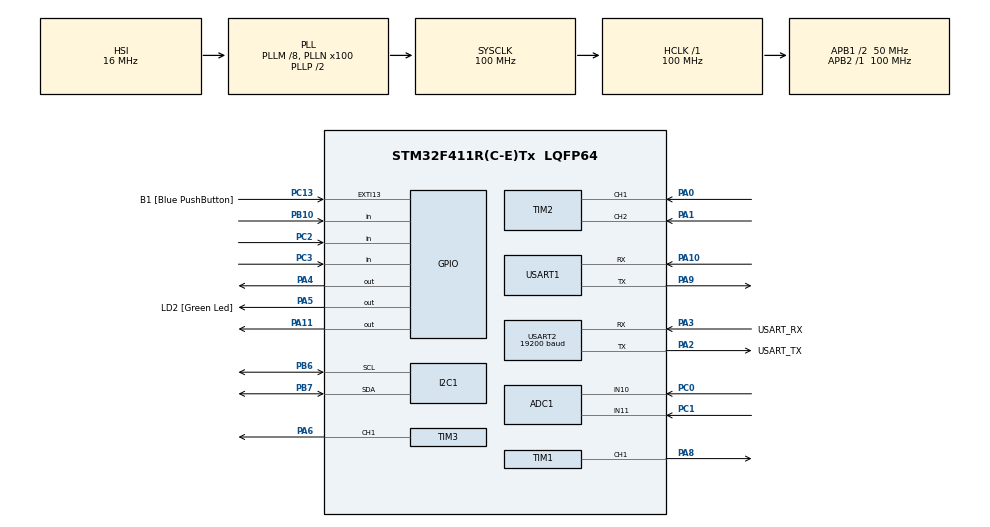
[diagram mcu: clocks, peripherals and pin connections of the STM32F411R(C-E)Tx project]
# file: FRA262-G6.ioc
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ADC1.Channel-0\#ChannelRegularConversion=ADC_CHANNEL_10
ADC1.NbrOfConversionFlag=1
ADC1.Rank-0\#ChannelRegularConversion=1
ADC1.SamplingTime-0\#ChannelRegularConversion=ADC_SAMPLETIME_3CYCLES
ADC1.master=1
ARM.CMSIS.5.6.0.CMSISJjCORE=true
ARM.CMSIS.5.6.0.CMSISJjDSP=Library
Dma.Request0=USART2_TX
Dma.Request1=TIM3_CH1/TRIG
Dma.Request2=USART1_TX
Dma.TIM3_CH1/TRIG.1.Direction=DMA_MEMORY_TO_PERIPH
Dma.TIM3_CH1/TRIG.1.FIFOMode=DMA_FIFOMODE_DISABLE
Dma.TIM3_CH1/TRIG.1.Instance=DMA1_Stream4
Dma.TIM3_CH1/TRIG.1.MemDataAlignment=DMA_MDATAALIGN_HALFWORD
Dma.TIM3_CH1/TRIG.1.MemInc=DMA_MINC_ENABLE
Dma.TIM3_CH1/TRIG.1.Mode=DMA_NORMAL
Dma.TIM3_CH1/TRIG.1.PeriphDataAlignment=DMA_PDATAALIGN_HALFWORD
Dma.TIM3_CH1/TRIG.1.PeriphInc=DMA_PINC_DISABLE
Dma.TIM3_CH1/TRIG.1.Priority=DMA_PRIORITY_LOW
Dma.USART1_TX.2.Direction=DMA_MEMORY_TO_PERIPH
Dma.USART1_TX.2.FIFOMode=DMA_FIFOMODE_DISABLE
Dma.USART1_TX.2.Instance=DMA2_Stream7
Dma.USART1_TX.2.MemDataAlignment=DMA_MDATAALIGN_BYTE
Dma.USART1_TX.2.MemInc=DMA_MINC_ENABLE
Dma.USART1_TX.2.Mode=DMA_NORMAL
Dma.USART1_TX.2.PeriphDataAlignment=DMA_PDATAALIGN_BYTE
Dma.USART1_TX.2.PeriphInc=DMA_PINC_DISABLE
Dma.USART1_TX.2.Priority=DMA_PRIORITY_LOW
Dma.USART2_TX.0.Direction=DMA_MEMORY_TO_PERIPH
Dma.USART2_TX.0.FIFOMode=DMA_FIFOMODE_DISABLE
Dma.USART2_TX.0.Instance=DMA1_Stream6
Dma.USART2_TX.0.MemDataAlignment=DMA_MDATAALIGN_BYTE
Dma.USART2_TX.0.MemInc=DMA_MINC_ENABLE
Dma.USART2_TX.0.Mode=DMA_NORMAL
Dma.USART2_TX.0.PeriphDataAlignment=DMA_PDATAALIGN_BYTE
Dma.USART2_TX.0.PeriphInc=DMA_PINC_DISABLE
Dma.USART2_TX.0.Priority=DMA_PRIORITY_LOW
Mcu.Family=STM32F4
Mcu.Name=STM32F411R(C-E)Tx
Mcu.Package=LQFP64
NVIC.DMA1_Stream4_IRQn=true\:0\:0\:false\:false\:true\:false\:true\:true
NVIC.DMA1_Stream6_IRQn=true\:0\:0\:false\:false\:true\:false\:true\:true
NVIC.DMA2_Stream7_IRQn=true\:0\:0\:false\:false\:true\:false\:true\:true
NVIC.PriorityGroup=NVIC_PRIORITYGROUP_0
NVIC.TIM1_BRK_TIM9_IRQn=true\:0\:0\:false\:false\:true\:true\:true\:true
NVIC.TIM1_TRG_COM_TIM11_IRQn=true\:0\:0\:false\:false\:true\:true\:true\:true
NVIC.TIM1_UP_TIM10_IRQn=true\:0\:0\:false\:false\:true\:true\:true\:true
NVIC.USART1_IRQn=true\:0\:0\:false\:false\:true\:true\:true\:true
NVIC.USART2_IRQn=true\:0\:0\:false\:false\:true\:true\:true\:true
PA0-WKUP.Signal=S_TIM2_CH1_ETR
PA1.Signal=S_TIM2_CH2
PA10.Mode=Asynchronous
PA10.Signal=USART1_RX
PA11.Signal=GPIO_Output
PA13.GPIO_Label=TMS
PA13.Mode=Trace_Asynchronous_SW
PA13.Signal=SYS_JTMS-SWDIO
PA14.GPIO_Label=TCK
PA14.Mode=Trace_Asynchronous_SW
PA14.Signal=SYS_JTCK-SWCLK
PA2.GPIO_Label=USART_TX
PA2.Mode=Asynchronous
PA2.Signal=USART2_TX
PA3.GPIO_Label=USART_RX
PA3.Mode=Asynchronous
PA3.Signal=USART2_RX
PA4.PinState=GPIO_PIN_SET
PA4.Signal=GPIO_Output
PA5.GPIO_Label=LD2 [Green Led]
PA5.Signal=GPIO_Output
PA6.Signal=S_TIM3_CH1
PA8.Signal=S_TIM1_CH1
PA9.Mode=Asynchronous
PA9.Signal=USART1_TX
PB10.Signal=GPIO_Input
PB3.GPIO_Label=SWO
PB3.Mode=Trace_Asynchronous_SW
PB3.Signal=SYS_JTDO-SWO
PB6.Mode=I2C
PB6.Signal=I2C1_SCL
PB7.Mode=I2C
PB7.Signal=I2C1_SDA
PC0.Signal=ADCx_IN10
PC1.Signal=ADCx_IN11
PC13-ANTI_TAMP.GPIO_Label=B1 [Blue PushButton]
PC13-ANTI_TAMP.GPIO_ModeDefaultEXTI=GPIO_MODE_IT_FALLING
PC13-ANTI_TAMP.Signal=GPXTI13
PC14-OSC32_IN.Mode=LSE-External-Oscillator
PC14-OSC32_IN.Signal=RCC_OSC32_IN
PC15-OSC32_OUT.Mode=LSE-External-Oscillator
PC15-OSC32_OUT.Signal=RCC_OSC32_OUT
PC2.Signal=GPIO_Input
PC3.Signal=GPIO_Input
PC6.Signal=USART6_TX
PH0\ -\ OSC_IN.Mode=HSE-External-Clock-Source
PH0\ -\ OSC_IN.Signal=RCC_OSC_IN
PH1\ -\ OSC_OUT.Mode=HSE-External-Clock-Source
PH1\ -\ OSC_OUT.Signal=RCC_OSC_OUT
ProjectManager.HeapSize=0x200
ProjectManager.StackSize=0x400
ProjectManager.TargetToolchain=STM32CubeIDE
RCC.48MHZClocksFreq_Value=50000000
RCC.AHBFreq_Value=100000000
RCC.APB1CLKDivider=RCC_HCLK_DIV2
RCC.APB1Freq_Value=50000000
RCC.APB1TimFreq_Value=100000000
RCC.APB2Freq_Value=100000000
RCC.APB2TimFreq_Value=100000000
RCC.CortexFreq_Value=100000000
RCC.FLatency-AdvancedSettings=FLASH_LATENCY_3
RCC.HCLKFreq_Value=100000000
RCC.HSE_VALUE=8000000
RCC.HSI_VALUE=16000000
RCC.PLLM=8
RCC.PLLN=100
RCC.SYSCLKFreq_VALUE=100000000
RCC.SYSCLKSource=RCC_SYSCLKSOURCE_PLLCLK
RCC.VCOOutputFreq_Value=200000000
SH.ADCx_IN10.0=ADC1_IN10,IN10
SH.ADCx_IN11.0=ADC1_IN11,IN11
SH.S_TIM1_CH1.0=TIM1_CH1,PWM Generation1 CH1
SH.S_TIM2_CH1_ETR.0=TIM2_CH1,Encoder_Interface
SH.S_TIM2_CH2.0=TIM2_CH2,Encoder_Interface
SH.S_TIM3_CH1.0=TIM3_CH1,PWM Generation1 CH1
TIM1.Channel-Input_Capture3_from_TI3=TIM_CHANNEL_3
TIM1.Channel-PWM\ Generation1\ CH1=TIM_CHANNEL_1
TIM1.Period=25000-1
TIM1.Prescaler=5-1
TIM10.Period=217-1
TIM10.Prescaler=48-1
TIM11.Channel=TIM_CHANNEL_1
TIM11.OCMode_1=TIM_OCMODE_ACTIVE
TIM11.Period=2005
TIM11.Prescaler=99
TIM11.Pulse=1433
TIM2.EncoderMode=TIM_ENCODERMODE_TI12
TIM3.Channel-PWM\ Generation1\ CH1=TIM_CHANNEL_1
TIM3.Period=125-1
TIM9.Period=1000-1
TIM9.Prescaler=10-1
USART1.VirtualMode=VM_ASYNC
USART2.BaudRate=19200
USART2.Parity=PARITY_EVEN
USART2.VirtualMode=VM_ASYNC
USART2.WordLength=WORDLENGTH_9B
VP_ARM.CMSIS_VS_CMSISJjCORE_5.3.0_5.6.0.Mode=CMSISJjCORE
VP_ARM.CMSIS_VS_CMSISJjDSP_1.7.0_5.6.0.Mode=CMSISJjDSP
VP_TIM10_VS_ClockSourceINT.Mode=Enable_Timer
VP_TIM11_VS_ClockSourceINT.Mode=Enable_Timer
VP_TIM11_VS_OPM.Mode=OPM_bit
VP_TIM11_VS_no_output1.Mode=Output Compare1 No Output
VP_TIM1_VS_ClockSourceINT.Mode=Internal
VP_TIM3_VS_ClockSourceINT.Mode=Internal
VP_TIM9_VS_ClockSourceINT.Mode=Internal
board=NUCLEO-F411RE

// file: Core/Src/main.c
/* USER CODE BEGIN Header */
/**
 ******************************************************************************
 * @file           : main.c
 * @brief          : Main program body
 ******************************************************************************
 * @attention
 *
 * Copyright (c) 2023 STMicroelectronics.
 * All rights reserved.
 *
 * This software is licensed under terms that can be found in the LICENSE file
 * in the root directory of this software component.
 * If no LICENSE file comes with this software, it is provided AS-IS.
 *
 ******************************************************************************
 */
/* USER CODE END Header */
#include "main.h"
#include "adc.h"
#include "dma.h"
#include "i2c.h"
#include "tim.h"
#include "usart.h"
#include "gpio.h"

/* USER CODE BEGIN Includes */
#include <stdio.h>
#include <arm_math.h>
#include <math.h>
#include <stdlib.h>

#include <MotorEncoder.h>
#include <PIDControl.h>
#include <trajectory_trapezoidal.h>
#include <Localization.h>
#include <BaseSystemModbus.h>
#include <RGB.h>
#include <Joystick.h>
#include <MainLogic.h>
#include <Speaker.h>
/* USER CODE END Includes */

/* USER CODE BEGIN PV */

int32_t QEIReadRaw = 0;
int32_t QEIReadHome = 0;
int32_t setpoint_y = 0;
int32_t setpoint_x = 0;
int32_t homeoffset = 0;

float KP = 114;
float KI = 0.196;
float KD = 500;

MB MBvariables = { 0 };
uint32_t modbus_count = 0;

int receivedByte[4] = { 0 };

/* USER CODE END PV */

void SystemClock_Config(void);

int main(void) {
	/* USER CODE BEGIN 1 */

	MBvariables.x_target_acceleration_time = 1;
	MBvariables.x_target_speed = 1000;

	/* USER CODE END 1 */

	/* MCU Configuration--------------------------------------------------------*/

	/* Reset of all peripherals, Initializes the Flash interface and the Systick. */
	HAL_Init();

	/* Configure the system clock */
	SystemClock_Config();

	/* Initialize all configured peripherals */
	MX_GPIO_Init();
	MX_DMA_Init();
	MX_USART2_UART_Init();
	MX_I2C1_Init();
	MX_TIM1_Init();
	MX_TIM2_Init();
	MX_USART1_UART_Init();
	MX_ADC1_Init();
	MX_TIM9_Init();
	MX_TIM11_Init();
	MX_TIM3_Init();
	MX_TIM10_Init();
	/* USER CODE BEGIN 2 */

	// start timer 1 in PWM for motor
	HAL_TIM_Base_Start(&htim1);
	HAL_TIM_PWM_Start(&htim1, TIM_CHANNEL_1);

	// Start timer in encoder mode
	HAL_TIM_Encoder_Start(&htim2, TIM_CHANNEL_1 | TIM_CHANNEL_2);

	// Timer 9 Timer Interrupt (1000Hz)
	HAL_TIM_Base_Start_IT(&htim9);

	// Timer 10 Timer Interrupt (9600Hz)
	HAL_TIM_Base_Start_IT(&htim10);

	// Initialize modbus
	modbus_init();

	// Initialize UART1
	UARTInterruptConfig();

	// Startup tasks
	RGB_Bootup(1);
	speaker_play(50, 1);
	RGB_Bootup(2);

	/* USER CODE END 2 */

	/* Infinite loop */
	/* USER CODE BEGIN WHILE */
	while (1) {
		modbus_heartbeat_handler(&MBvariables);
		modbus_data_sync(&MBvariables);
		QEIReadHome = getLocalPosition();
		QEIReadRaw = getRawPosition();
		main_logic(&MBvariables);
		/* USER CODE END WHILE */

	}
}

void SystemClock_Config(void) {
	RCC_OscInitTypeDef RCC_OscInitStruct = { 0 };
	RCC_ClkInitTypeDef RCC_ClkInitStruct = { 0 };

	/** Configure the main internal regulator output voltage
	 */
	__HAL_RCC_PWR_CLK_ENABLE();
	__HAL_PWR_VOLTAGESCALING_CONFIG(PWR_REGULATOR_VOLTAGE_SCALE1);

	/** Initializes the RCC Oscillators according to the specified parameters
	 * in the RCC_OscInitTypeDef structure.
	 */
	RCC_OscInitStruct.OscillatorType = RCC_OSCILLATORTYPE_HSI;
	RCC_OscInitStruct.HSIState = RCC_HSI_ON;
	RCC_OscInitStruct.HSICalibrationValue = RCC_HSICALIBRATION_DEFAULT;
	RCC_OscInitStruct.PLL.PLLState = RCC_PLL_ON;
	RCC_OscInitStruct.PLL.PLLSource = RCC_PLLSOURCE_HSI;
	RCC_OscInitStruct.PLL.PLLM = 8;
	RCC_OscInitStruct.PLL.PLLN = 100;
	RCC_OscInitStruct.PLL.PLLP = RCC_PLLP_DIV2;
	RCC_OscInitStruct.PLL.PLLQ = 4;
	if (HAL_RCC_OscConfig(&RCC_OscInitStruct) != HAL_OK) {
		Error_Handler();
	}

	/** Initializes the CPU, AHB and APB buses clocks
	 */
	RCC_ClkInitStruct.ClockType = RCC_CLOCKTYPE_HCLK | RCC_CLOCKTYPE_SYSCLK | RCC_CLOCKTYPE_PCLK1 | RCC_CLOCKTYPE_PCLK2;
	RCC_ClkInitStruct.SYSCLKSource = RCC_SYSCLKSOURCE_PLLCLK;
	RCC_ClkInitStruct.AHBCLKDivider = RCC_SYSCLK_DIV1;
	RCC_ClkInitStruct.APB1CLKDivider = RCC_HCLK_DIV2;
	RCC_ClkInitStruct.APB2CLKDivider = RCC_HCLK_DIV1;

	if (HAL_RCC_ClockConfig(&RCC_ClkInitStruct, FLASH_LATENCY_3) != HAL_OK) {
		Error_Handler();
	}
}

/* USER CODE BEGIN 4 */

void HAL_TIM_PeriodElapsedCallback(TIM_HandleTypeDef *htim) {
	if (htim == &htim9) {
		interrupt_logic();
	} else if (htim == &htim10) {
		speaker_UART_bitbang();
	}
}

void HAL_UART_RxCpltCallback(UART_HandleTypeDef *huart) {
	if (huart == &huart1) {
		Joystick_Received((int*) &receivedByte);
	}
}

/* USER CODE END 4 */

void Error_Handler(void) {
	__disable_irq();
	while (1) {
	}
}
